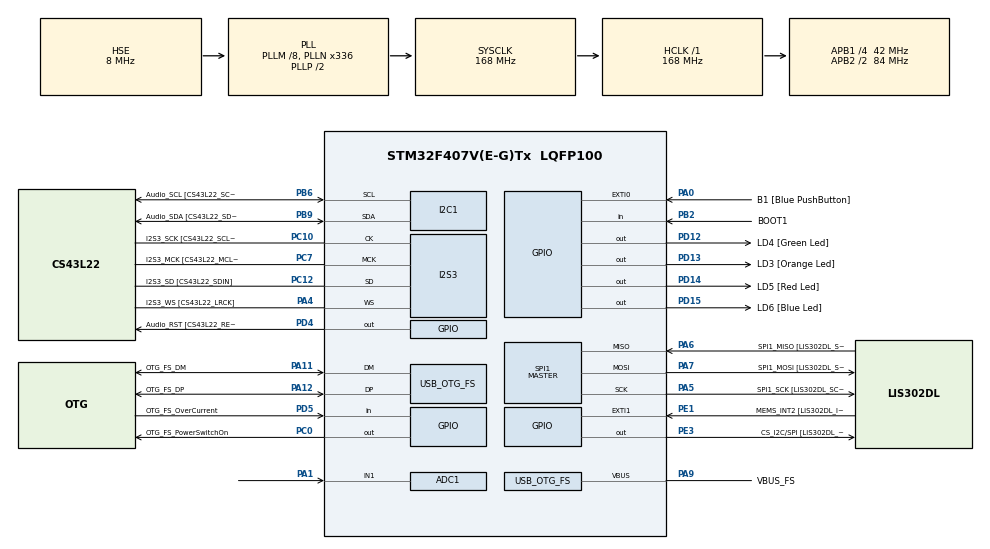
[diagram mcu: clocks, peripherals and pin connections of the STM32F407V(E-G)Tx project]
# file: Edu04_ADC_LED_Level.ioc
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ADC1.Channel-0\#ChannelRegularConversion=ADC_CHANNEL_1
ADC1.NbrOfConversionFlag=1
ADC1.Rank-0\#ChannelRegularConversion=1
ADC1.SamplingTime-0\#ChannelRegularConversion=ADC_SAMPLETIME_3CYCLES
ADC1.master=1
I2S3.AudioFreq-Half_Duplex_Master=I2S_AUDIOFREQ_96K
I2S3.ErrorAudioFreq=-2.34 %
I2S3.ErrorAudioFreq-Half_Duplex_Master=0.8 %
I2S3.FullDuplexMode=I2S_FULLDUPLEXMODE_DISABLE
I2S3.Instance=SPI$Index
I2S3.RealAudioFreq=93.75 KHz
I2S3.RealAudioFreq-Half_Duplex_Master=96.774 KHz
I2S3.VirtualMode=I2S_MODE_MASTER
Mcu.Family=STM32F4
Mcu.Name=STM32F407V(E-G)Tx
Mcu.Package=LQFP100
NVIC.OTG_FS_IRQn=true\:0\:0\:false\:false\:true\:true\:true\:true
NVIC.PriorityGroup=NVIC_PRIORITYGROUP_0
PA0-WKUP.GPIO_Label=B1 [Blue PushButton]
PA0-WKUP.GPIO_ModeDefaultEXTI=GPIO_MODE_EVT_RISING
PA0-WKUP.GPIO_PuPd=GPIO_NOPULL
PA0-WKUP.Signal=GPXTI0
PA1.Signal=ADCx_IN1
PA10.GPIO_Label=OTG_FS_ID
PA10.GPIO_Mode=GPIO_MODE_AF_PP
PA10.GPIO_PuPd=GPIO_NOPULL
PA10.GPIO_Speed=GPIO_SPEED_FREQ_LOW
PA10.Signal=USB_OTG_FS_ID
PA11.GPIO_Label=OTG_FS_DM
PA11.GPIO_Mode=GPIO_MODE_AF_PP
PA11.GPIO_PuPd=GPIO_NOPULL
PA11.GPIO_Speed=GPIO_SPEED_FREQ_LOW
PA11.Mode=Host_Only
PA11.Signal=USB_OTG_FS_DM
PA12.GPIO_Label=OTG_FS_DP
PA12.GPIO_Mode=GPIO_MODE_AF_PP
PA12.GPIO_PuPd=GPIO_NOPULL
PA12.GPIO_Speed=GPIO_SPEED_FREQ_LOW
PA12.Mode=Host_Only
PA12.Signal=USB_OTG_FS_DP
PA13.GPIO_Label=SWDIO
PA13.Mode=Serial_Wire
PA13.Signal=SYS_JTMS-SWDIO
PA14.GPIO_Label=SWCLK
PA14.Mode=Serial_Wire
PA14.Signal=SYS_JTCK-SWCLK
PA4.GPIO_Label=I2S3_WS [CS43L22_LRCK]
PA4.GPIO_Mode=GPIO_MODE_AF_PP
PA4.GPIO_PuPd=GPIO_NOPULL
PA4.GPIO_Speed=GPIO_SPEED_FREQ_LOW
PA4.Mode=Half_Duplex_Master
PA4.Signal=I2S3_WS
PA5.GPIO_Label=SPI1_SCK [LIS302DL_SCL/SPC]
PA5.GPIO_Mode=GPIO_MODE_AF_PP
PA5.GPIO_PuPd=GPIO_NOPULL
PA5.GPIO_Speed=GPIO_SPEED_FREQ_LOW
PA5.Mode=Full_Duplex_Master
PA5.Signal=SPI1_SCK
PA6.GPIO_Label=SPI1_MISO [LIS302DL_SDO]
PA6.GPIO_Mode=GPIO_MODE_AF_PP
PA6.GPIO_PuPd=GPIO_NOPULL
PA6.GPIO_Speed=GPIO_SPEED_FREQ_LOW
PA6.Mode=Full_Duplex_Master
PA6.Signal=SPI1_MISO
PA7.GPIO_Label=SPI1_MOSI [LIS302DL_SDA/SDI/SDO]
PA7.GPIO_Mode=GPIO_MODE_AF_PP
PA7.GPIO_PuPd=GPIO_NOPULL
PA7.GPIO_Speed=GPIO_SPEED_FREQ_LOW
PA7.Mode=Full_Duplex_Master
PA7.Signal=SPI1_MOSI
PA9.GPIO_Label=VBUS_FS
PA9.GPIO_Mode=GPIO_MODE_INPUT
PA9.GPIO_PuPd=GPIO_NOPULL
PA9.Mode=Activate_VBUS
PA9.Signal=USB_OTG_FS_VBUS
PB10.GPIO_Label=CLK_IN [MP45DT02_CLK]
PB10.GPIO_Mode=GPIO_MODE_AF_PP
PB10.GPIO_PuPd=GPIO_NOPULL
PB10.GPIO_Speed=GPIO_SPEED_FREQ_LOW
PB10.Signal=I2S2_CK
PB2.GPIO_Label=BOOT1
PB2.GPIO_Mode=GPIO_MODE_INPUT
PB2.GPIO_PuPd=GPIO_NOPULL
PB2.Signal=GPIO_Input
PB3.GPIO_Label=SWO
PB3.Signal=SYS_JTDO-SWO
PB6.GPIO_Label=Audio_SCL [CS43L22_SCL]
PB6.GPIO_Mode=GPIO_MODE_AF_OD
PB6.GPIO_Pu=GPIO_PULLUP
PB6.GPIO_PuPd=GPIO_NOPULL
PB6.GPIO_Speed=GPIO_SPEED_FREQ_LOW
PB6.Mode=I2C
PB6.Signal=I2C1_SCL
PB9.GPIO_Label=Audio_SDA [CS43L22_SDA]
PB9.GPIO_Mode=GPIO_MODE_AF_OD
PB9.GPIO_Pu=GPIO_PULLUP
PB9.GPIO_PuPd=GPIO_NOPULL
PB9.GPIO_Speed=GPIO_SPEED_FREQ_LOW
PB9.Mode=I2C
PB9.Signal=I2C1_SDA
PC0.GPIO_Label=OTG_FS_PowerSwitchOn
PC0.GPIO_PuPd=GPIO_NOPULL
PC0.GPIO_Speed=GPIO_SPEED_FREQ_LOW
PC0.PinState=GPIO_PIN_SET
PC0.Signal=GPIO_Output
PC10.GPIO_Label=I2S3_SCK [CS43L22_SCLK]
PC10.GPIO_Mode=GPIO_MODE_AF_PP
PC10.GPIO_PuPd=GPIO_NOPULL
PC10.GPIO_Speed=GPIO_SPEED_FREQ_LOW
PC10.Mode=Half_Duplex_Master
PC10.Signal=I2S3_CK
PC12.GPIO_Label=I2S3_SD [CS43L22_SDIN]
PC12.GPIO_Mode=GPIO_MODE_AF_PP
PC12.GPIO_PuPd=GPIO_NOPULL
PC12.GPIO_Speed=GPIO_SPEED_FREQ_LOW
PC12.Mode=Half_Duplex_Master
PC12.Signal=I2S3_SD
PC14-OSC32_IN.GPIO_Label=PC14-OSC32_IN
PC14-OSC32_IN.Mode=LSE-External-Oscillator
PC14-OSC32_IN.Signal=RCC_OSC32_IN
PC15-OSC32_OUT.GPIO_Label=PC15-OSC32_OUT
PC15-OSC32_OUT.Mode=LSE-External-Oscillator
PC15-OSC32_OUT.Signal=RCC_OSC32_OUT
PC3.GPIO_Label=PDM_OUT [MP45DT02_DOUT]
PC3.GPIO_Mode=GPIO_MODE_AF_PP
PC3.GPIO_PuPd=GPIO_NOPULL
PC3.GPIO_Speed=GPIO_SPEED_FREQ_LOW
PC3.Signal=I2S2_SD
PC7.GPIO_Label=I2S3_MCK [CS43L22_MCLK]
PC7.GPIO_Mode=GPIO_MODE_AF_PP
PC7.GPIO_PuPd=GPIO_NOPULL
PC7.GPIO_Speed=GPIO_SPEED_FREQ_LOW
PC7.Mode=Master_Clock_Activated
PC7.Signal=I2S3_MCK
PD12.GPIO_Label=LD4 [Green Led]
PD12.GPIO_PuPd=GPIO_NOPULL
PD12.GPIO_Speed=GPIO_SPEED_FREQ_LOW
PD12.Signal=GPIO_Output
PD13.GPIO_Label=LD3 [Orange Led]
PD13.GPIO_PuPd=GPIO_NOPULL
PD13.GPIO_Speed=GPIO_SPEED_FREQ_LOW
PD13.Signal=GPIO_Output
PD14.GPIO_Label=LD5 [Red Led]
PD14.GPIO_PuPd=GPIO_NOPULL
PD14.GPIO_Speed=GPIO_SPEED_FREQ_LOW
PD14.Signal=GPIO_Output
PD15.GPIO_Label=LD6 [Blue Led]
PD15.GPIO_PuPd=GPIO_NOPULL
PD15.GPIO_Speed=GPIO_SPEED_FREQ_LOW
PD15.Signal=GPIO_Output
PD4.GPIO_Label=Audio_RST [CS43L22_RESET]
PD4.GPIO_PuPd=GPIO_NOPULL
PD4.GPIO_Speed=GPIO_SPEED_FREQ_LOW
PD4.Signal=GPIO_Output
PD5.GPIO_Label=OTG_FS_OverCurrent
PD5.GPIO_Mode=GPIO_MODE_INPUT
PD5.GPIO_PuPd=GPIO_NOPULL
PD5.Signal=GPIO_Input
PE1.GPIO_Label=MEMS_INT2 [LIS302DL_INT2]
PE1.GPIO_ModeDefaultEXTI=GPIO_MODE_EVT_RISING
PE1.GPIO_PuPd=GPIO_NOPULL
PE1.Signal=GPXTI1
PE3.GPIO_Label=CS_I2C/SPI [LIS302DL_CS_I2C/SPI]
PE3.GPIO_PuPd=GPIO_NOPULL
PE3.GPIO_Speed=GPIO_SPEED_FREQ_LOW
PE3.Signal=GPIO_Output
PH0-OSC_IN.GPIO_Label=PH0-OSC_IN
PH0-OSC_IN.Mode=HSE-External-Oscillator
PH0-OSC_IN.Signal=RCC_OSC_IN
PH1-OSC_OUT.GPIO_Label=PH1-OSC_OUT
PH1-OSC_OUT.Mode=HSE-External-Oscillator
PH1-OSC_OUT.Signal=RCC_OSC_OUT
ProjectManager.HeapSize=0x200
ProjectManager.StackSize=0x400
ProjectManager.TargetToolchain=STM32CubeIDE
RCC.48MHZClocksFreq_Value=48000000
RCC.AHBFreq_Value=168000000
RCC.APB1CLKDivider=RCC_HCLK_DIV4
RCC.APB1Freq_Value=42000000
RCC.APB1TimFreq_Value=84000000
RCC.APB2CLKDivider=RCC_HCLK_DIV2
RCC.APB2Freq_Value=84000000
RCC.APB2TimFreq_Value=168000000
RCC.CortexFreq_Value=168000000
RCC.HCLKFreq_Value=168000000
RCC.HSE_VALUE=8000000
RCC.HSI_VALUE=16000000
RCC.PLLM=8
RCC.PLLN=336
RCC.PLLQ=7
RCC.SYSCLKFreq_VALUE=168000000
RCC.SYSCLKSource=RCC_SYSCLKSOURCE_PLLCLK
RCC.VCOOutputFreq_Value=336000000
SH.ADCx_IN1.0=ADC1_IN1,IN1
SPI1.BaudRatePrescaler-Full_Duplex_Master=SPI_BAUDRATEPRESCALER_2
SPI1.CalculateBaudRate-Full_Duplex_Master=42.0 MBits/s
SPI1.Direction=SPI_DIRECTION_2LINES
SPI1.Mode=SPI_MODE_MASTER
SPI1.Mode-Full_Duplex_Master=SPI_MODE_MASTER
SPI1.VirtualType=VM_MASTER
USB_HOST.BSP.number=1
USB_HOST.USBH_HandleTypeDef-CDC_FS=hUsbHostFS
USB_HOST.VirtualModeFS=Cdc
USB_HOST0.BSP.STBoard=false
USB_HOST0.BSP.api=Unknown
USB_HOST0.BSP.instance=PC0
USB_HOST0.BSP.ip=GPIO
USB_HOST0.BSP.mode=Output
USB_HOST0.BSP.name=Drive_VBUS_FS
USB_HOST0.BSP.solution=PC0
USB_OTG_FS.VirtualMode=Host_Only
USB_OTG_FS.phy_itface=HCD_PHY_EMBEDDED
VP_USB_HOST_VS_USB_HOST_CDC_FS.Mode=CDC_FS
board=STM32F407G-DISC1

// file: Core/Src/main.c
/* USER CODE BEGIN Header */
/**
  ******************************************************************************
  * @file           : main.c
  * @brief          : Main program body
  ******************************************************************************
  * @attention
  *
  * Copyright (c) 2026 STMicroelectronics.
  * All rights reserved.
  *
  * This software is licensed under terms that can be found in the LICENSE file
  * in the root directory of this software component.
  * If no LICENSE file comes with this software, it is provided AS-IS.
  *
  ******************************************************************************
  */
/* USER CODE END Header */
#include "main.h"
#include "usb_host.h"

ADC_HandleTypeDef hadc1;

I2C_HandleTypeDef hi2c1;

I2S_HandleTypeDef hi2s3;

SPI_HandleTypeDef hspi1;

/* USER CODE BEGIN PV */
volatile uint32_t adcValue = 0;
/* USER CODE END PV */

void SystemClock_Config(void);
static void MX_GPIO_Init(void);
static void MX_I2C1_Init(void);
static void MX_I2S3_Init(void);
static void MX_SPI1_Init(void);
static void MX_ADC1_Init(void);
void MX_USB_HOST_Process(void);

int main(void)
{

  /* MCU Configuration--------------------------------------------------------*/

  /* Reset of all peripherals, Initializes the Flash interface and the Systick. */
  HAL_Init();

  /* Configure the system clock */
  SystemClock_Config();

  /* Initialize all configured peripherals */
  MX_GPIO_Init();
  MX_I2C1_Init();
  MX_I2S3_Init();
  MX_SPI1_Init();
  MX_USB_HOST_Init();
  MX_ADC1_Init();

  /* Infinite loop */
  while (1)
  {
    MX_USB_HOST_Process();

    /* USER CODE BEGIN 3 */
    HAL_ADC_Start(&hadc1);

    if (HAL_ADC_PollForConversion(&hadc1,100) == HAL_OK){

    	adcValue = HAL_ADC_GetValue(&hadc1);

    }

    HAL_ADC_Stop(&hadc1);

    HAL_GPIO_WritePin(GPIOD, GPIO_PIN_12 | GPIO_PIN_13 | GPIO_PIN_14 | GPIO_PIN_15, GPIO_PIN_RESET);

    if (adcValue<1024){
    HAL_GPIO_WritePin(GPIOD, GPIO_PIN_12, GPIO_PIN_SET);
    }

    else if (adcValue < 2048){
    	HAL_GPIO_WritePin(GPIOD, GPIO_PIN_12 | GPIO_PIN_13, GPIO_PIN_SET);
    }

    else if (adcValue < 3072)
    {
      HAL_GPIO_WritePin(GPIOD, GPIO_PIN_12 | GPIO_PIN_13 | GPIO_PIN_14, GPIO_PIN_SET);
    }

    else
    {
      HAL_GPIO_WritePin(GPIOD, GPIO_PIN_12 | GPIO_PIN_13 | GPIO_PIN_14 | GPIO_PIN_15, GPIO_PIN_SET);
    }

    HAL_Delay(100);
  }
  /* USER CODE END 3 */
}

void SystemClock_Config(void)
{
  RCC_OscInitTypeDef RCC_OscInitStruct = {0};
  RCC_ClkInitTypeDef RCC_ClkInitStruct = {0};

  /** Configure the main internal regulator output voltage
  */
  __HAL_RCC_PWR_CLK_ENABLE();
  __HAL_PWR_VOLTAGESCALING_CONFIG(PWR_REGULATOR_VOLTAGE_SCALE1);

  /** Initializes the RCC Oscillators according to the specified parameters
  * in the RCC_OscInitTypeDef structure.
  */
  RCC_OscInitStruct.OscillatorType = RCC_OSCILLATORTYPE_HSE;
  RCC_OscInitStruct.HSEState = RCC_HSE_ON;
  RCC_OscInitStruct.PLL.PLLState = RCC_PLL_ON;
  RCC_OscInitStruct.PLL.PLLSource = RCC_PLLSOURCE_HSE;
  RCC_OscInitStruct.PLL.PLLM = 8;
  RCC_OscInitStruct.PLL.PLLN = 336;
  RCC_OscInitStruct.PLL.PLLP = RCC_PLLP_DIV2;
  RCC_OscInitStruct.PLL.PLLQ = 7;
  if (HAL_RCC_OscConfig(&RCC_OscInitStruct) != HAL_OK)
  {
    Error_Handler();
  }

  /** Initializes the CPU, AHB and APB buses clocks
  */
  RCC_ClkInitStruct.ClockType = RCC_CLOCKTYPE_HCLK|RCC_CLOCKTYPE_SYSCLK
                              |RCC_CLOCKTYPE_PCLK1|RCC_CLOCKTYPE_PCLK2;
  RCC_ClkInitStruct.SYSCLKSource = RCC_SYSCLKSOURCE_PLLCLK;
  RCC_ClkInitStruct.AHBCLKDivider = RCC_SYSCLK_DIV1;
  RCC_ClkInitStruct.APB1CLKDivider = RCC_HCLK_DIV4;
  RCC_ClkInitStruct.APB2CLKDivider = RCC_HCLK_DIV2;

  if (HAL_RCC_ClockConfig(&RCC_ClkInitStruct, FLASH_LATENCY_5) != HAL_OK)
  {
    Error_Handler();
  }
}

static void MX_ADC1_Init(void)
{

  ADC_ChannelConfTypeDef sConfig = {0};

  /** Configure the global features of the ADC (Clock, Resolution, Data Alignment and number of conversion)
  */
  hadc1.Instance = ADC1;
  hadc1.Init.ClockPrescaler = ADC_CLOCK_SYNC_PCLK_DIV4;
  hadc1.Init.Resolution = ADC_RESOLUTION_12B;
  hadc1.Init.ScanConvMode = DISABLE;
  hadc1.Init.ContinuousConvMode = DISABLE;
  hadc1.Init.DiscontinuousConvMode = DISABLE;
  hadc1.Init.ExternalTrigConvEdge = ADC_EXTERNALTRIGCONVEDGE_NONE;
  hadc1.Init.ExternalTrigConv = ADC_SOFTWARE_START;
  hadc1.Init.DataAlign = ADC_DATAALIGN_RIGHT;
  hadc1.Init.NbrOfConversion = 1;
  hadc1.Init.DMAContinuousRequests = DISABLE;
  hadc1.Init.EOCSelection = ADC_EOC_SINGLE_CONV;
  if (HAL_ADC_Init(&hadc1) != HAL_OK)
  {
    Error_Handler();
  }

  /** Configure for the selected ADC regular channel its corresponding rank in the sequencer and its sample time.
  */
  sConfig.Channel = ADC_CHANNEL_1;
  sConfig.Rank = 1;
  sConfig.SamplingTime = ADC_SAMPLETIME_3CYCLES;
  if (HAL_ADC_ConfigChannel(&hadc1, &sConfig) != HAL_OK)
  {
    Error_Handler();
  }

}

static void MX_I2C1_Init(void)
{

  hi2c1.Instance = I2C1;
  hi2c1.Init.ClockSpeed = 100000;
  hi2c1.Init.DutyCycle = I2C_DUTYCYCLE_2;
  hi2c1.Init.OwnAddress1 = 0;
  hi2c1.Init.AddressingMode = I2C_ADDRESSINGMODE_7BIT;
  hi2c1.Init.DualAddressMode = I2C_DUALADDRESS_DISABLE;
  hi2c1.Init.OwnAddress2 = 0;
  hi2c1.Init.GeneralCallMode = I2C_GENERALCALL_DISABLE;
  hi2c1.Init.NoStretchMode = I2C_NOSTRETCH_DISABLE;
  if (HAL_I2C_Init(&hi2c1) != HAL_OK)
  {
    Error_Handler();
  }

}

static void MX_I2S3_Init(void)
{

  hi2s3.Instance = SPI3;
  hi2s3.Init.Mode = I2S_MODE_MASTER_TX;
  hi2s3.Init.Standard = I2S_STANDARD_PHILIPS;
  hi2s3.Init.DataFormat = I2S_DATAFORMAT_16B;
  hi2s3.Init.MCLKOutput = I2S_MCLKOUTPUT_ENABLE;
  hi2s3.Init.AudioFreq = I2S_AUDIOFREQ_96K;
  hi2s3.Init.CPOL = I2S_CPOL_LOW;
  hi2s3.Init.ClockSource = I2S_CLOCK_PLL;
  hi2s3.Init.FullDuplexMode = I2S_FULLDUPLEXMODE_DISABLE;
  if (HAL_I2S_Init(&hi2s3) != HAL_OK)
  {
    Error_Handler();
  }

}

static void MX_SPI1_Init(void)
{

  /* SPI1 parameter configuration*/
  hspi1.Instance = SPI1;
  hspi1.Init.Mode = SPI_MODE_MASTER;
  hspi1.Init.Direction = SPI_DIRECTION_2LINES;
  hspi1.Init.DataSize = SPI_DATASIZE_8BIT;
  hspi1.Init.CLKPolarity = SPI_POLARITY_LOW;
  hspi1.Init.CLKPhase = SPI_PHASE_1EDGE;
  hspi1.Init.NSS = SPI_NSS_SOFT;
  hspi1.Init.BaudRatePrescaler = SPI_BAUDRATEPRESCALER_2;
  hspi1.Init.FirstBit = SPI_FIRSTBIT_MSB;
  hspi1.Init.TIMode = SPI_TIMODE_DISABLE;
  hspi1.Init.CRCCalculation = SPI_CRCCALCULATION_DISABLE;
  hspi1.Init.CRCPolynomial = 10;
  if (HAL_SPI_Init(&hspi1) != HAL_OK)
  {
    Error_Handler();
  }

}

static void MX_GPIO_Init(void)
{
  GPIO_InitTypeDef GPIO_InitStruct = {0};

  /* GPIO Ports Clock Enable */
  __HAL_RCC_GPIOE_CLK_ENABLE();
  __HAL_RCC_GPIOC_CLK_ENABLE();
  __HAL_RCC_GPIOH_CLK_ENABLE();
  __HAL_RCC_GPIOA_CLK_ENABLE();
  __HAL_RCC_GPIOB_CLK_ENABLE();
  __HAL_RCC_GPIOD_CLK_ENABLE();

  /*Configure GPIO pin Output Level */
  HAL_GPIO_WritePin(CS_I2C_SPI_GPIO_Port, CS_I2C_SPI_Pin, GPIO_PIN_RESET);

  /*Configure GPIO pin Output Level */
  HAL_GPIO_WritePin(OTG_FS_PowerSwitchOn_GPIO_Port, OTG_FS_PowerSwitchOn_Pin, GPIO_PIN_SET);

  /*Configure GPIO pin Output Level */
  HAL_GPIO_WritePin(GPIOD, LD4_Pin|LD3_Pin|LD5_Pin|LD6_Pin
                          |Audio_RST_Pin, GPIO_PIN_RESET);

  /*Configure GPIO pin : CS_I2C_SPI_Pin */
  GPIO_InitStruct.Pin = CS_I2C_SPI_Pin;
  GPIO_InitStruct.Mode = GPIO_MODE_OUTPUT_PP;
  GPIO_InitStruct.Pull = GPIO_NOPULL;
  GPIO_InitStruct.Speed = GPIO_SPEED_FREQ_LOW;
  HAL_GPIO_Init(CS_I2C_SPI_GPIO_Port, &GPIO_InitStruct);

  /*Configure GPIO pin : OTG_FS_PowerSwitchOn_Pin */
  GPIO_InitStruct.Pin = OTG_FS_PowerSwitchOn_Pin;
  GPIO_InitStruct.Mode = GPIO_MODE_OUTPUT_PP;
  GPIO_InitStruct.Pull = GPIO_NOPULL;
  GPIO_InitStruct.Speed = GPIO_SPEED_FREQ_LOW;
  HAL_GPIO_Init(OTG_FS_PowerSwitchOn_GPIO_Port, &GPIO_InitStruct);

  /*Configure GPIO pin : PDM_OUT_Pin */
  GPIO_InitStruct.Pin = PDM_OUT_Pin;
  GPIO_InitStruct.Mode = GPIO_MODE_AF_PP;
  GPIO_InitStruct.Pull = GPIO_NOPULL;
  GPIO_InitStruct.Speed = GPIO_SPEED_FREQ_LOW;
  GPIO_InitStruct.Alternate = GPIO_AF5_SPI2;
  HAL_GPIO_Init(PDM_OUT_GPIO_Port, &GPIO_InitStruct);

  /*Configure GPIO pin : B1_Pin */
  GPIO_InitStruct.Pin = B1_Pin;
  GPIO_InitStruct.Mode = GPIO_MODE_EVT_RISING;
  GPIO_InitStruct.Pull = GPIO_NOPULL;
  HAL_GPIO_Init(B1_GPIO_Port, &GPIO_InitStruct);

  /*Configure GPIO pin : BOOT1_Pin */
  GPIO_InitStruct.Pin = BOOT1_Pin;
  GPIO_InitStruct.Mode = GPIO_MODE_INPUT;
  GPIO_InitStruct.Pull = GPIO_NOPULL;
  HAL_GPIO_Init(BOOT1_GPIO_Port, &GPIO_InitStruct);

  /*Configure GPIO pin : CLK_IN_Pin */
  GPIO_InitStruct.Pin = CLK_IN_Pin;
  GPIO_InitStruct.Mode = GPIO_MODE_AF_PP;
  GPIO_InitStruct.Pull = GPIO_NOPULL;
  GPIO_InitStruct.Speed = GPIO_SPEED_FREQ_LOW;
  GPIO_InitStruct.Alternate = GPIO_AF5_SPI2;
  HAL_GPIO_Init(CLK_IN_GPIO_Port, &GPIO_InitStruct);

  /*Configure GPIO pins : LD4_Pin LD3_Pin LD5_Pin LD6_Pin
                           Audio_RST_Pin */
  GPIO_InitStruct.Pin = LD4_Pin|LD3_Pin|LD5_Pin|LD6_Pin
                          |Audio_RST_Pin;
  GPIO_InitStruct.Mode = GPIO_MODE_OUTPUT_PP;
  GPIO_InitStruct.Pull = GPIO_NOPULL;
  GPIO_InitStruct.Speed = GPIO_SPEED_FREQ_LOW;
  HAL_GPIO_Init(GPIOD, &GPIO_InitStruct);

  /*Configure GPIO pin : OTG_FS_OverCurrent_Pin */
  GPIO_InitStruct.Pin = OTG_FS_OverCurrent_Pin;
  GPIO_InitStruct.Mode = GPIO_MODE_INPUT;
  GPIO_InitStruct.Pull = GPIO_NOPULL;
  HAL_GPIO_Init(OTG_FS_OverCurrent_GPIO_Port, &GPIO_InitStruct);

  /*Configure GPIO pin : MEMS_INT2_Pin */
  GPIO_InitStruct.Pin = MEMS_INT2_Pin;
  GPIO_InitStruct.Mode = GPIO_MODE_EVT_RISING;
  GPIO_InitStruct.Pull = GPIO_NOPULL;
  HAL_GPIO_Init(MEMS_INT2_GPIO_Port, &GPIO_InitStruct);

}

void Error_Handler(void)
{
  __disable_irq();
  while (1)
  {
  }
}
